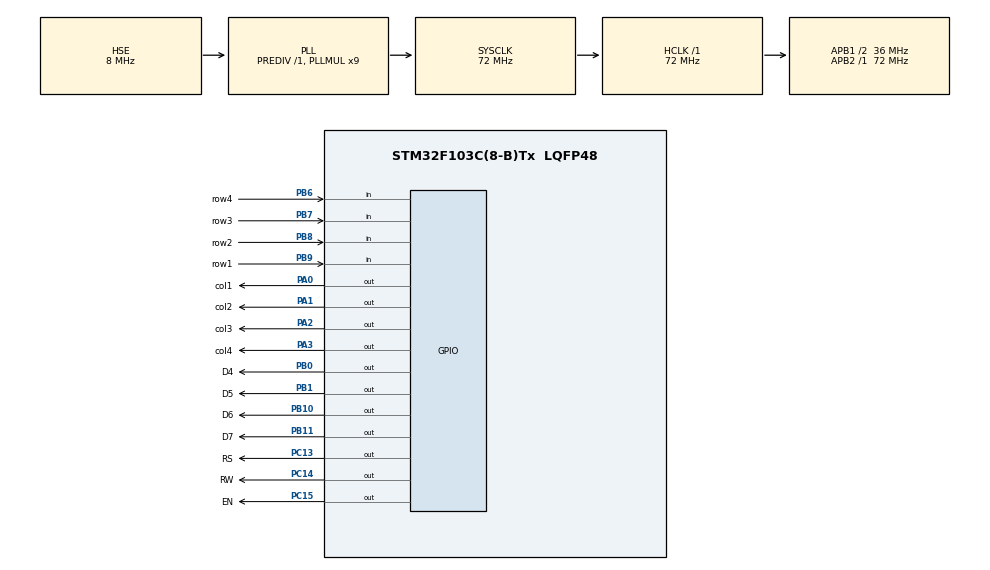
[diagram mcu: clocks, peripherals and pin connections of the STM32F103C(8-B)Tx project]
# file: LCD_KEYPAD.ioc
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Mcu.Family=STM32F1
Mcu.Name=STM32F103C(8-B)Tx
Mcu.Package=LQFP48
NVIC.PriorityGroup=NVIC_PRIORITYGROUP_4
PA0-WKUP.GPIO_Label=col1
PA0-WKUP.PinState=GPIO_PIN_SET
PA0-WKUP.Signal=GPIO_Output
PA1.GPIO_Label=col2
PA1.PinState=GPIO_PIN_SET
PA1.Signal=GPIO_Output
PA13.Mode=Serial_Wire
PA13.Signal=SYS_JTMS-SWDIO
PA14.Mode=Serial_Wire
PA14.Signal=SYS_JTCK-SWCLK
PA2.GPIO_Label=col3
PA2.PinState=GPIO_PIN_SET
PA2.Signal=GPIO_Output
PA3.GPIO_Label=col4
PA3.PinState=GPIO_PIN_SET
PA3.Signal=GPIO_Output
PB0.GPIO_Label=D4
PB0.Signal=GPIO_Output
PB1.GPIO_Label=D5
PB1.Signal=GPIO_Output
PB10.GPIO_Label=D6
PB10.Signal=GPIO_Output
PB11.GPIO_Label=D7
PB11.Signal=GPIO_Output
PB6.GPIO_Label=row4
PB6.GPIO_Mode=GPIO_MODE_INPUT
PB6.GPIO_PuPd=GPIO_PULLUP
PB6.Signal=GPIO_Input
PB7.GPIO_Label=row3
PB7.GPIO_Mode=GPIO_MODE_INPUT
PB7.GPIO_PuPd=GPIO_PULLUP
PB7.Signal=GPIO_Input
PB8.GPIO_Label=row2
PB8.GPIO_Mode=GPIO_MODE_INPUT
PB8.GPIO_PuPd=GPIO_PULLUP
PB8.Signal=GPIO_Input
PB9.GPIO_Label=row1
PB9.GPIO_Mode=GPIO_MODE_INPUT
PB9.GPIO_PuPd=GPIO_PULLUP
PB9.Signal=GPIO_Input
PC13-TAMPER-RTC.GPIO_Label=RS
PC13-TAMPER-RTC.Signal=GPIO_Output
PC14-OSC32_IN.GPIO_Label=RW
PC14-OSC32_IN.Signal=GPIO_Output
PC15-OSC32_OUT.GPIO_Label=EN
PC15-OSC32_OUT.Signal=GPIO_Output
PD0-OSC_IN.Mode=HSE-External-Oscillator
PD0-OSC_IN.Signal=RCC_OSC_IN
PD1-OSC_OUT.Mode=HSE-External-Oscillator
PD1-OSC_OUT.Signal=RCC_OSC_OUT
ProjectManager.HeapSize=0x200
ProjectManager.StackSize=0x400
ProjectManager.TargetToolchain=MDK-ARM V5
RCC.AHBFreq_Value=72000000
RCC.APB1CLKDivider=RCC_HCLK_DIV2
RCC.APB1Freq_Value=36000000
RCC.APB1TimFreq_Value=72000000
RCC.APB2Freq_Value=72000000
RCC.APB2TimFreq_Value=72000000
RCC.HCLKFreq_Value=72000000
RCC.PLLMUL=RCC_PLL_MUL9
RCC.PLLSourceVirtual=RCC_PLLSOURCE_HSE
RCC.SYSCLKFreq_VALUE=72000000
RCC.SYSCLKSource=RCC_SYSCLKSOURCE_PLLCLK
RCC.USBFreq_Value=72000000
board=LCD_KEYPAD

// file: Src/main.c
/**
  ******************************************************************************
  * @file           : main.c
  * @brief          : Main program body
  ******************************************************************************
  ** This notice applies to any and all portions of this file
  * that are not between comment pairs USER CODE BEGIN and
  * USER CODE END. Other portions of this file, whether
  * inserted by the user or by software development tools
  * are owned by their respective copyright owners.
  *
  * COPYRIGHT(c) 2020 STMicroelectronics
  *
  * Redistribution and use in source and binary forms, with or without modification,
  * are permitted provided that the following conditions are met:
  *   1. Redistributions of source code must retain the above copyright notice,
  *      this list of conditions and the following disclaimer.
  *   2. Redistributions in binary form must reproduce the above copyright notice,
  *      this list of conditions and the following disclaimer in the documentation
  *      and/or other materials provided with the distribution.
  *   3. Neither the name of STMicroelectronics nor the names of its contributors
  *      may be used to endorse or promote products derived from this software
  *      without specific prior written permission.
  *
  * THIS SOFTWARE IS PROVIDED BY THE COPYRIGHT HOLDERS AND CONTRIBUTORS "AS IS"
  * AND ANY EXPRESS OR IMPLIED WARRANTIES, INCLUDING, BUT NOT LIMITED TO, THE
  * IMPLIED WARRANTIES OF MERCHANTABILITY AND FITNESS FOR A PARTICULAR PURPOSE ARE
  * DISCLAIMED. IN NO EVENT SHALL THE COPYRIGHT HOLDER OR CONTRIBUTORS BE LIABLE
  * FOR ANY DIRECT, INDIRECT, INCIDENTAL, SPECIAL, EXEMPLARY, OR CONSEQUENTIAL
  * DAMAGES (INCLUDING, BUT NOT LIMITED TO, PROCUREMENT OF SUBSTITUTE GOODS OR
  * SERVICES; LOSS OF USE, DATA, OR PROFITS; OR BUSINESS INTERRUPTION) HOWEVER
  * CAUSED AND ON ANY THEORY OF LIABILITY, WHETHER IN CONTRACT, STRICT LIABILITY,
  * OR TORT (INCLUDING NEGLIGENCE OR OTHERWISE) ARISING IN ANY WAY OUT OF THE USE
  * OF THIS SOFTWARE, EVEN IF ADVISED OF THE POSSIBILITY OF SUCH DAMAGE.
  *
  ******************************************************************************
  */
#include "main.h"
#include "stm32f1xx_hal.h"

/* USER CODE BEGIN Includes */
#include "lcd.h"
#include "stdio.h"
/* USER CODE END Includes */

/* USER CODE BEGIN PV */
/* Private variables ---------------------------------------------------------*/

Lcd_PortType ports[] = {D4_GPIO_Port, D5_GPIO_Port, D6_GPIO_Port, D7_GPIO_Port};
Lcd_PinType pins[] = {D4_Pin, D5_Pin, D6_Pin, D7_Pin};
uint8_t key = 0;
uint8_t keypad[4][4] =
{
	{'1','2','3','/'},
	{'4','5','6','*'},
	{'7','8','9','-'},
	{'#','0','=','+'}
};

char str[2];
uint8_t lcd_col = 1, lcd_row = 1;
/* USER CODE END PV */

void SystemClock_Config(void);
static void MX_GPIO_Init(void);

/* USER CODE BEGIN PFP */
/* Private function prototypes -----------------------------------------------*/

/* USER CODE END PFP */

/* USER CODE BEGIN 0 */

uint8_t GetKeyPad()
{
	HAL_GPIO_WritePin(col1_GPIO_Port,col1_Pin,1);
	HAL_GPIO_WritePin(col2_GPIO_Port,col2_Pin,1);
	HAL_GPIO_WritePin(col3_GPIO_Port,col3_Pin,1);
	HAL_GPIO_WritePin(col3_GPIO_Port,col4_Pin,1);

	HAL_GPIO_WritePin(col1_GPIO_Port,col1_Pin,0);
	if(HAL_GPIO_ReadPin(row1_GPIO_Port,row1_Pin) == 0)
	{
		while(HAL_GPIO_ReadPin(row1_GPIO_Port,row1_Pin) == 0);
		return keypad[0][0];
	}
	if(HAL_GPIO_ReadPin(row2_GPIO_Port,row2_Pin) == 0)
	{
		while(HAL_GPIO_ReadPin(row2_GPIO_Port,row2_Pin) == 0);
		return keypad[1][0];
	}
	if(HAL_GPIO_ReadPin(row3_GPIO_Port,row3_Pin) == 0)
	{
		while(HAL_GPIO_ReadPin(row3_GPIO_Port,row3_Pin) == 0);
		return keypad[2][0];
	}
	if(HAL_GPIO_ReadPin(row4_GPIO_Port,row4_Pin) == 0)
	{
		while(HAL_GPIO_ReadPin(row4_GPIO_Port,row4_Pin) == 0);
		return keypad[3][0];
	}

	HAL_GPIO_WritePin(col2_GPIO_Port,col2_Pin,0);
	if(HAL_GPIO_ReadPin(row1_GPIO_Port,row1_Pin) == 0)
	{
		while(HAL_GPIO_ReadPin(row1_GPIO_Port,row1_Pin) == 0);
		return keypad[0][1];
	}
	if(HAL_GPIO_ReadPin(row2_GPIO_Port,row2_Pin) == 0)
	{
		while(HAL_GPIO_ReadPin(row2_GPIO_Port,row2_Pin) == 0);
		return keypad[1][1];
	}
	if(HAL_GPIO_ReadPin(row3_GPIO_Port,row3_Pin) == 0)
	{
		while(HAL_GPIO_ReadPin(row3_GPIO_Port,row3_Pin) == 0);
		return keypad[2][1];
	}
	if(HAL_GPIO_ReadPin(row4_GPIO_Port,row4_Pin) == 0)
	{
		while(HAL_GPIO_ReadPin(row4_GPIO_Port,row4_Pin) == 0);
		return keypad[3][1];
	}

	HAL_GPIO_WritePin(col3_GPIO_Port,col3_Pin,0);
	if(HAL_GPIO_ReadPin(row1_GPIO_Port,row1_Pin) == 0)
	{
		while(HAL_GPIO_ReadPin(row1_GPIO_Port,row1_Pin) == 0);
		return keypad[0][2];
	}
	if(HAL_GPIO_ReadPin(row2_GPIO_Port,row2_Pin) == 0)
	{
		while(HAL_GPIO_ReadPin(row2_GPIO_Port,row2_Pin) == 0);
		return keypad[1][2];
	}
	if(HAL_GPIO_ReadPin(row3_GPIO_Port,row3_Pin) == 0)
	{
		while(HAL_GPIO_ReadPin(row3_GPIO_Port,row3_Pin) == 0);
		return keypad[2][2];
	}
	if(HAL_GPIO_ReadPin(row4_GPIO_Port,row4_Pin) == 0)
	{
		while(HAL_GPIO_ReadPin(row4_GPIO_Port,row4_Pin) == 0);
		return keypad[3][2];
	}

	HAL_GPIO_WritePin(col4_GPIO_Port,col4_Pin,0);
	if(HAL_GPIO_ReadPin(row1_GPIO_Port,row1_Pin) == 0)
	{
		while(HAL_GPIO_ReadPin(row1_GPIO_Port,row1_Pin) == 0);
		return keypad[0][3];
	}
	if(HAL_GPIO_ReadPin(row2_GPIO_Port,row2_Pin) == 0)
	{
		while(HAL_GPIO_ReadPin(row2_GPIO_Port,row2_Pin) == 0);
		return keypad[1][3];
	}
	if(HAL_GPIO_ReadPin(row3_GPIO_Port,row3_Pin) == 0)
	{
		while(HAL_GPIO_ReadPin(row3_GPIO_Port,row3_Pin) == 0);
		return keypad[2][3];
	}
	if(HAL_GPIO_ReadPin(row4_GPIO_Port,row4_Pin) == 0)
	{
		while(HAL_GPIO_ReadPin(row4_GPIO_Port,row4_Pin) == 0);
		return keypad[3][3];
	}

	return 2;
}

/* USER CODE END 0 */

int main(void)
{

  /* MCU Configuration----------------------------------------------------------*/

  /* Reset of all peripherals, Initializes the Flash interface and the Systick. */
  HAL_Init();

  /* Configure the system clock */
  SystemClock_Config();

  /* Initialize all configured peripherals */
  MX_GPIO_Init();
  /* USER CODE BEGIN 2 */
	Lcd_HandleTypeDef lcd = Lcd_create(ports, pins, RS_GPIO_Port, RS_Pin, EN_GPIO_Port, EN_Pin, LCD_4_BIT_MODE);
	Lcd_clear(&lcd);

  /* USER CODE END 2 */

  /* Infinite loop */
  /* USER CODE BEGIN WHILE */
  while (1)
  {
		key = GetKeyPad();
		if(key != 2)
		{
			Lcd_cursor(&lcd,lcd_row,lcd_col);
			sprintf(str,"%c",(char)key);
			Lcd_string(&lcd,str);

			lcd_col++;
			if(lcd_col == 17)
			{
				lcd_col = 1;
				lcd_row++;
				if(lcd_row == 3)
					lcd_row = 1;
			}
		}
		HAL_Delay(10);

  /* USER CODE END WHILE */

  }

}

void SystemClock_Config(void)
{

  RCC_OscInitTypeDef RCC_OscInitStruct;
  RCC_ClkInitTypeDef RCC_ClkInitStruct;

    /**Initializes the CPU, AHB and APB busses clocks
    */
  RCC_OscInitStruct.OscillatorType = RCC_OSCILLATORTYPE_HSE;
  RCC_OscInitStruct.HSEState = RCC_HSE_ON;
  RCC_OscInitStruct.HSEPredivValue = RCC_HSE_PREDIV_DIV1;
  RCC_OscInitStruct.HSIState = RCC_HSI_ON;
  RCC_OscInitStruct.PLL.PLLState = RCC_PLL_ON;
  RCC_OscInitStruct.PLL.PLLSource = RCC_PLLSOURCE_HSE;
  RCC_OscInitStruct.PLL.PLLMUL = RCC_PLL_MUL9;
  if (HAL_RCC_OscConfig(&RCC_OscInitStruct) != HAL_OK)
  {
    _Error_Handler(__FILE__, __LINE__);
  }

    /**Initializes the CPU, AHB and APB busses clocks
    */
  RCC_ClkInitStruct.ClockType = RCC_CLOCKTYPE_HCLK|RCC_CLOCKTYPE_SYSCLK
                              |RCC_CLOCKTYPE_PCLK1|RCC_CLOCKTYPE_PCLK2;
  RCC_ClkInitStruct.SYSCLKSource = RCC_SYSCLKSOURCE_PLLCLK;
  RCC_ClkInitStruct.AHBCLKDivider = RCC_SYSCLK_DIV1;
  RCC_ClkInitStruct.APB1CLKDivider = RCC_HCLK_DIV2;
  RCC_ClkInitStruct.APB2CLKDivider = RCC_HCLK_DIV1;

  if (HAL_RCC_ClockConfig(&RCC_ClkInitStruct, FLASH_LATENCY_2) != HAL_OK)
  {
    _Error_Handler(__FILE__, __LINE__);
  }

    /**Configure the Systick interrupt time
    */
  HAL_SYSTICK_Config(HAL_RCC_GetHCLKFreq()/1000);

    /**Configure the Systick
    */
  HAL_SYSTICK_CLKSourceConfig(SYSTICK_CLKSOURCE_HCLK);

  /* SysTick_IRQn interrupt configuration */
  HAL_NVIC_SetPriority(SysTick_IRQn, 0, 0);
}

/** Configure pins as
        * Analog
        * Input
        * Output
        * EVENT_OUT
        * EXTI
*/
static void MX_GPIO_Init(void)
{

  GPIO_InitTypeDef GPIO_InitStruct;

  /* GPIO Ports Clock Enable */
  __HAL_RCC_GPIOC_CLK_ENABLE();
  __HAL_RCC_GPIOD_CLK_ENABLE();
  __HAL_RCC_GPIOA_CLK_ENABLE();
  __HAL_RCC_GPIOB_CLK_ENABLE();

  /*Configure GPIO pin Output Level */
  HAL_GPIO_WritePin(GPIOC, RS_Pin|RW_Pin|EN_Pin, GPIO_PIN_RESET);

  /*Configure GPIO pin Output Level */
  HAL_GPIO_WritePin(GPIOA, col1_Pin|col2_Pin|col3_Pin|col4_Pin, GPIO_PIN_SET);

  /*Configure GPIO pin Output Level */
  HAL_GPIO_WritePin(GPIOB, D4_Pin|D5_Pin|D6_Pin|D7_Pin, GPIO_PIN_RESET);

  /*Configure GPIO pins : RS_Pin RW_Pin EN_Pin */
  GPIO_InitStruct.Pin = RS_Pin|RW_Pin|EN_Pin;
  GPIO_InitStruct.Mode = GPIO_MODE_OUTPUT_PP;
  GPIO_InitStruct.Speed = GPIO_SPEED_FREQ_LOW;
  HAL_GPIO_Init(GPIOC, &GPIO_InitStruct);

  /*Configure GPIO pins : col1_Pin col2_Pin col3_Pin col4_Pin */
  GPIO_InitStruct.Pin = col1_Pin|col2_Pin|col3_Pin|col4_Pin;
  GPIO_InitStruct.Mode = GPIO_MODE_OUTPUT_PP;
  GPIO_InitStruct.Speed = GPIO_SPEED_FREQ_LOW;
  HAL_GPIO_Init(GPIOA, &GPIO_InitStruct);

  /*Configure GPIO pins : D4_Pin D5_Pin D6_Pin D7_Pin */
  GPIO_InitStruct.Pin = D4_Pin|D5_Pin|D6_Pin|D7_Pin;
  GPIO_InitStruct.Mode = GPIO_MODE_OUTPUT_PP;
  GPIO_InitStruct.Speed = GPIO_SPEED_FREQ_LOW;
  HAL_GPIO_Init(GPIOB, &GPIO_InitStruct);

  /*Configure GPIO pins : row4_Pin row3_Pin row2_Pin row1_Pin */
  GPIO_InitStruct.Pin = row4_Pin|row3_Pin|row2_Pin|row1_Pin;
  GPIO_InitStruct.Mode = GPIO_MODE_INPUT;
  GPIO_InitStruct.Pull = GPIO_PULLUP;
  HAL_GPIO_Init(GPIOB, &GPIO_InitStruct);

}

void _Error_Handler(char *file, int line)
{
  while(1)
  {
  }
}

/************************ (C) COPYRIGHT STMicroelectronics *****END OF FILE****/
